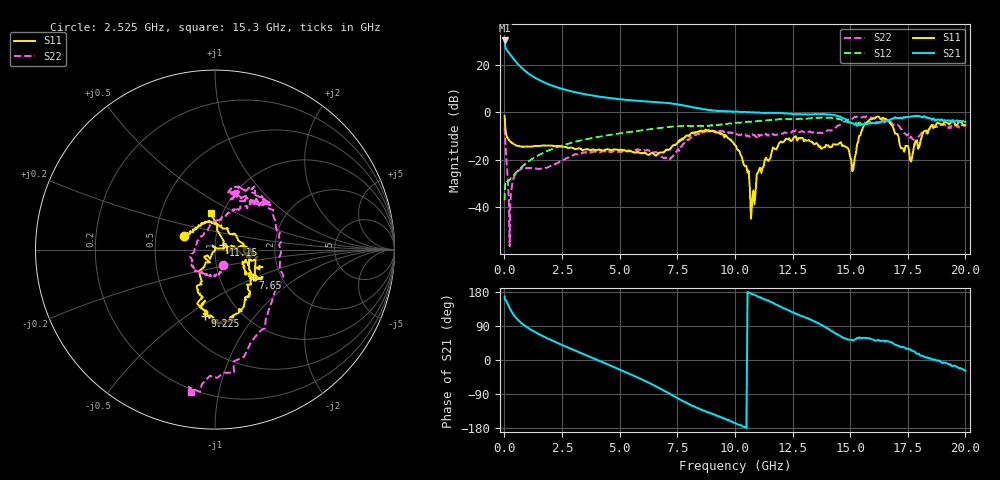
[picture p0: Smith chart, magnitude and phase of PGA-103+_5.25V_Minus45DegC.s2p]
!Mini-Circuits Laboratory
!S-Parameters, Port extension performed
!Model: PGA-103+
!Run / Lot / Date Code: N/A / BP170-001-01-101EV / 1210
!Fixture: TB-313
!Network Analyzer: PNA-X N5242A - 423 4 ports;  Serial number: 71013
!Date: 5/24/2012 at 5:32:15 PM
!S/N: Unit# 1
!Tested with: Vdd=5.25V at -45C
# Hz  S  dB  R  50
!Frequency  S11 dB  S11 Deg  S21 dB  S21 Deg  S12 dB  S12 Deg  S22 dB  S22 Deg
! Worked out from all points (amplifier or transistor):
!   660 points, 10 MHz to 20 GHz, reference 50 ohm
!   highest |S21| = 30.1 dB at 10 MHz (marker M1)
!   |S21| within 3 dB of that: start of sweep to 49.79 MHz
!   unconditionally stable (mu >= 1): 130.4 MHz to 12.14 GHz; 16.58 GHz to 17.09 GHz; 19.1 GHz to 19.75 GHz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
!   at 1.275 GHz: K = 1.10, MAG = 15.1 dB, |S12| = -19.3 dB
!   at 6.775 GHz: K = 1.01, MAG = 4.8 dB, |S12| = -6.6 dB
!   at 20 GHz: K = 1.08, MAG = -1.7 dB, |S12| = -4.2 dB
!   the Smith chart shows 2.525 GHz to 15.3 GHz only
!   S11 on the Smith chart (normalised r, x): 2.525 GHz: 0.70, +0.11; 7.65 GHz: 1.45, -0.48; 9.225 GHz: 0.69, -0.59; 11.15 GHz: 1.09, +0.06; 15.3 GHz: 0.88, +0.37
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1e7  -1.68 -23.9  30.12 167.5  -37.18 70.8  -6.45 -31.8
5e7  -7.54 -47.8  27.12 158.4  -29.74 29.1  -14.60 -78.0
7e7  -9.01 -49.1  26.61 157.1  -30.01 23.4  -17.76 -86.4
2.4e8  -12.25 -77.2  24.40 135.6  -28.36 31.1  -44.39 71.1
4.2e8  -13.53 -106.8  22.09 117.8  -26.45 41.0  -27.35 49.1
6.3e8  -14.37 -131.4  19.74 103.3  -24.27 46.8  -24.62 29.6
8.8e8  -14.58 -151.2  17.47 90.8  -22.03 49.2  -23.55 15.9
1.225e9  -14.48 -170.7  15.04 77.3  -19.62 48.2  -23.63 -2.7
1.775e9  -14.13 171.4  12.26 59.9  -16.76 42.6  -23.47 -30.3
2.525e9  -14.52 155.6  9.69 39.0  -14.03 30.9  -20.41 -61.0
3.35e9  -15.93 142.0  7.73 17.5  -11.91 15.9  -17.50 -79.6
6.675e9  -17.51 40.9  4.10 -72.8  -6.79 -61.3  -17.47 -169.5
7.65e9  -11.60 -36.1  3.05 -105.1  -5.94 -91.8  -14.71 78.4
9.225e9  -8.60 -98.5  0.37 -147.5  -5.62 -134.3  -8.31 39.9
1.005e10  -14.35 -112.4  0.26 -167.7  -4.50 -156.2  -9.14 51.9
1.075e10  -37.33 91.4  -0.11 174.2  -3.98 -175.1  -9.24 60.1
1.115e10  -25.63 30.5  -0.31 163.5  -3.74 173.4  -9.90 70.9
1.335e10  -12.57 -33.8  -0.94 105.1  -2.56 112.8  -8.59 26.6
1.53e10  -13.80 96.6  -5.87 58.2  -4.98 68.0  -1.90 -99.5
1.67e10  -4.25 36.5  -3.27 48.6  -3.21 48.6  -3.74 -106.1
1.76e10  -20.33 123.6  -1.96 28.0  -1.97 28.0  -10.81 -65.6
2e10  -5.57 101.7  -4.15 -28.7  -4.18 -29.0  -5.13 -15.0
